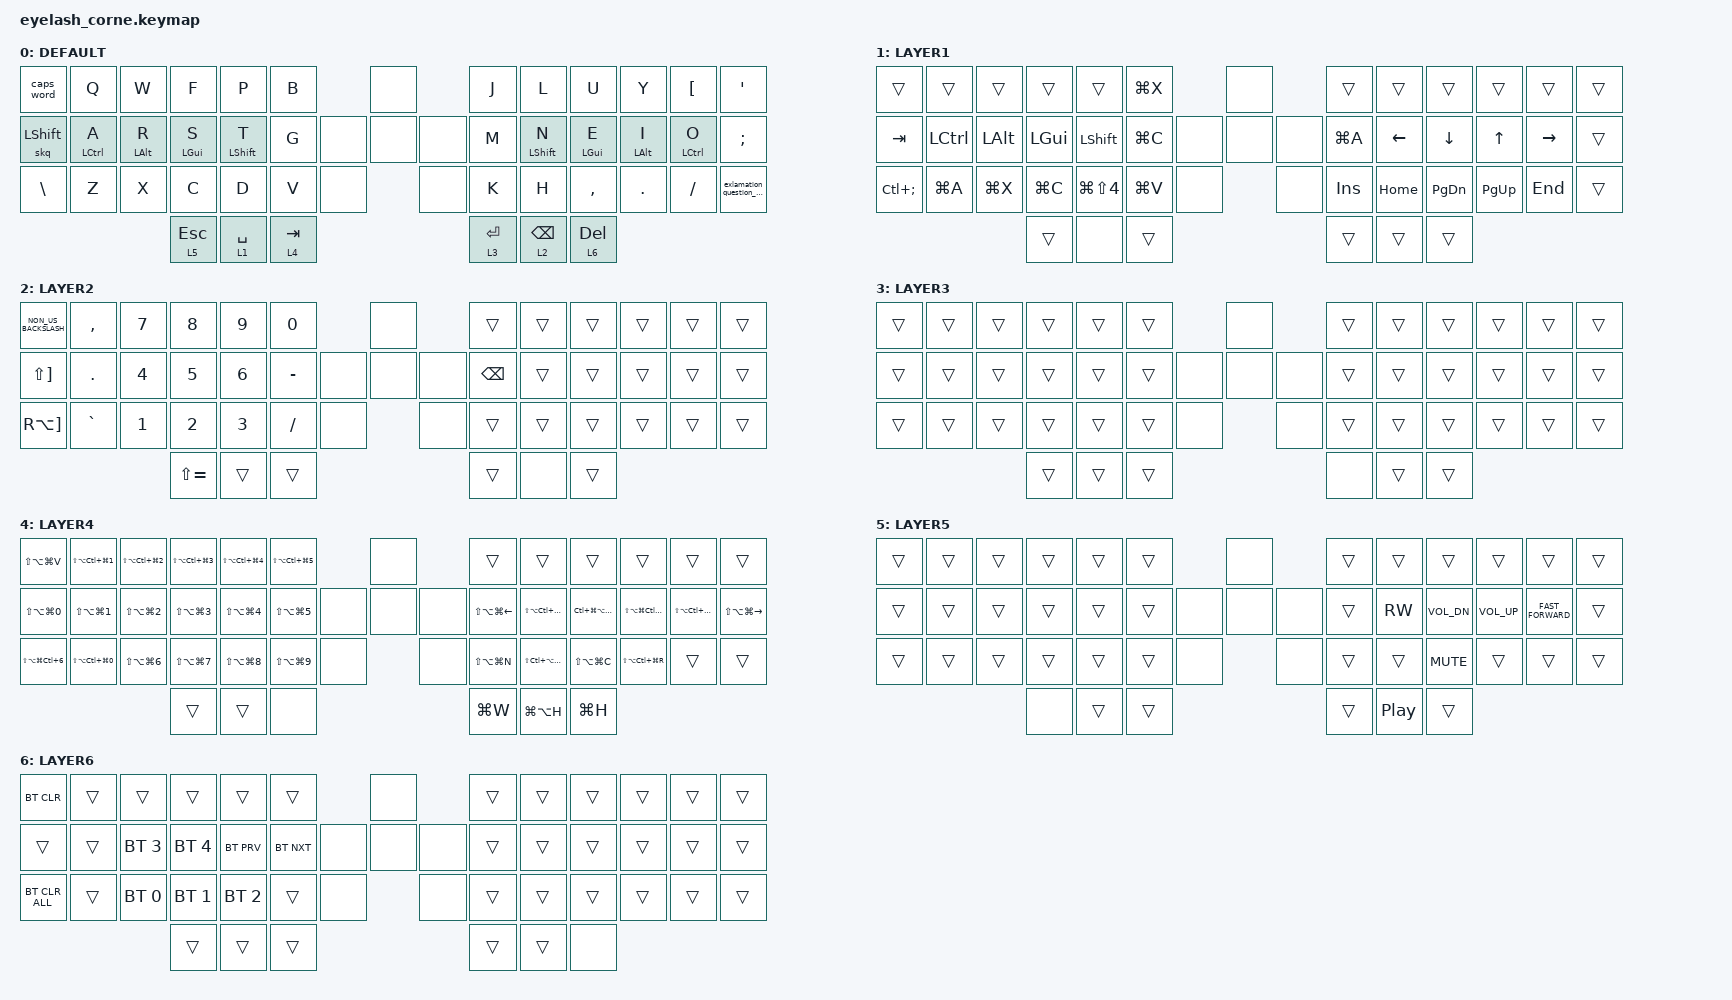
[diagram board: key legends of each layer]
#define ZMK_POINTING_DEFAULT_MOVE_VAL 1200  // 600
#define ZMK_POINTING_DEFAULT_SCRL_VAL 25   // 10

#include <input/processors.dtsi>
#include <zephyr/dt-bindings/input/input-event-codes.h>
#include "alias_corne.h"
#include <behaviors.dtsi>
#include <dt-bindings/zmk/bt.h>
#include <dt-bindings/zmk/keys.h>

&mmv_input_listener { input-processors = <&zip_xy_scaler 2 1>; };

&msc_input_listener { input-processors = <&zip_scroll_scaler 2 1>; };

&msc {
    acceleration-exponent = <1>;      // 0
    time-to-max-speed-ms = <100>;       // 300
    delay-ms = <0>;                   // 0
};

&mmv {
    time-to-max-speed-ms = <500>;
    acceleration-exponent = <1>;
    trigger-period-ms = <16>;
};

// Homerow mods

#define HRM_BEHAVIOR "tap-preferred"
#define HRM_TAPPING_TERM_MS 180
#define HRM_REQUIRE_PRIOR_IDLE_MS 80
#define HRM_QUICK_TAP_MS 160
#define COMBO_TIMEOUT_MS 30
#define COMBO_REQUIRE_PRIOR_IDLE_MS 80

/ {
    hml: homerow_mods_left {
        compatible = "zmk,behavior-hold-tap";
        label = "HOMEROW_MODS_LEFT";
        flavor =
        HRM_BEHAVIOR;
        tapping-term-ms = <HRM_TAPPING_TERM_MS>;
        quick-tap-ms = <HRM_QUICK_TAP_MS>;
        require-prior-idle-ms = <HRM_REQUIRE_PRIOR_IDLE_MS>;
        hold-trigger-key-positions = <KEYS_R KEYS_T>;
        hold-trigger-on-release;
        #binding-cells = <2>;
        bindings = <&kp>, <&kp>;
    };

    hmr: homerow_mods_right {
        compatible = "zmk,behavior-hold-tap";
        label = "HOMEROW_MODS_RIGHT";
        flavor =
        HRM_BEHAVIOR;
        tapping-term-ms = <HRM_TAPPING_TERM_MS>;
        quick-tap-ms = <HRM_QUICK_TAP_MS>;
        require-prior-idle-ms = <HRM_REQUIRE_PRIOR_IDLE_MS>;
        hold-trigger-key-positions = <KEYS_L KEYS_T>;
        hold-trigger-on-release;
        #binding-cells = <2>;
        bindings = <&kp>, <&kp>;
    };

    exlamation_question_mark: exlamation_question_mark {
        compatible = "zmk,behavior-mod-morph";
        label = "EXLAMATION_QUESTION_MARK";
        bindings = <&kp LS(NUMBER_1)>, <&kp MINUS>;

        #binding-cells = <0>;
        mods = <(MOD_LSFT)>;
        keep-mods = <(MOD_LSFT)>;
    };

    thumb_layers: thumb_layers {
        compatible = "zmk,behavior-hold-tap";
        label = "THUMB_LAYERS";
        flavor =
        HRM_BEHAVIOR;
        tapping-term-ms = <HRM_TAPPING_TERM_MS>;
        quick-tap-ms = <HRM_QUICK_TAP_MS>;
        require-prior-idle-ms = <HRM_REQUIRE_PRIOR_IDLE_MS>;
        hold-trigger-on-release;
        #binding-cells = <2>;
        bindings = <&mo>, <&kp>;
    };

    behaviors {
        skq: sticky_key_quick_release {
            compatible = "zmk,behavior-sticky-key";
            #binding-cells = <1>;
            bindings = <&kp>;
            release-after-ms = <1000>;
            quick-release;
            ignore-modifiers;
        };
    };

    combos {
        compatible = "zmk,combos";

        left_parenthesis {
            bindings = <&kp LS(N8)>;
            key-positions = <16 17>;
            layers = <0>;
            require-prior-idle-ms = <COMBO_REQUIRE_PRIOR_IDLE_MS>;
            timeout-ms = <COMBO_TIMEOUT_MS>;
        };

        right_parenthesis {
            bindings = <&kp LS(N9)>;
            key-positions = <23 24>;
            layers = <0>;
            require-prior-idle-ms = <COMBO_REQUIRE_PRIOR_IDLE_MS>;
            timeout-ms = <COMBO_TIMEOUT_MS>;
        };

        left_bracket {
            bindings = <&kp LA(N8)>;
            key-positions = <17 15>;
            timeout-ms = <COMBO_TIMEOUT_MS>;
            require-prior-idle-ms = <COMBO_REQUIRE_PRIOR_IDLE_MS>;
            layers = <0>;
        };

        right_bracket {
            bindings = <&kp LA(N9)>;
            key-positions = <23 25>;
            timeout-ms = <COMBO_TIMEOUT_MS>;
            require-prior-idle-ms = <COMBO_REQUIRE_PRIOR_IDLE_MS>;
            layers = <0>;
        };

        left_curly {
            bindings = <&kp LA(LS(N8))>;
            key-positions = <17 14>;
            timeout-ms = <COMBO_TIMEOUT_MS>;
            require-prior-idle-ms = <COMBO_REQUIRE_PRIOR_IDLE_MS>;
            layers = <0>;
        };

        right_curly {
            bindings = <&kp LA(LS(N9))>;
            key-positions = <23 26>;
            timeout-ms = <COMBO_TIMEOUT_MS>;
            require-prior-idle-ms = <COMBO_REQUIRE_PRIOR_IDLE_MS>;
            layers = <0>;
        };

        less_than {
            bindings = <&kp GRAVE>;
            key-positions = <16 18>;
            timeout-ms = <COMBO_TIMEOUT_MS>;
            require-prior-idle-ms = <COMBO_REQUIRE_PRIOR_IDLE_MS>;
            layers = <0>;
        };

        greater_than {
            bindings = <&kp LS(GRAVE)>;
            key-positions = <24 22>;
            timeout-ms = <COMBO_TIMEOUT_MS>;
            require-prior-idle-ms = <COMBO_REQUIRE_PRIOR_IDLE_MS>;
            layers = <0>;
        };

        equal {
            bindings = <&kp LS(N0)>;
            key-positions = <5 3>;
            timeout-ms = <COMBO_TIMEOUT_MS>;
            require-prior-idle-ms = <COMBO_REQUIRE_PRIOR_IDLE_MS>;
            layers = <0>;
        };

        star {
            bindings = <&kp LS(BACKSLASH)>;
            key-positions = <17 18>;
            timeout-ms = <COMBO_TIMEOUT_MS>;
            require-prior-idle-ms = <COMBO_REQUIRE_PRIOR_IDLE_MS>;
            layers = <0>;
        };

        quote {
            bindings = <&kp LS(NUMBER_2)>;
            key-positions = <31 32>;
            timeout-ms = <COMBO_TIMEOUT_MS>;
            require-prior-idle-ms = <COMBO_REQUIRE_PRIOR_IDLE_MS>;
            layers = <0>;
        };

        hash {
            bindings = <&kp LS(NUMBER_3)>;
            key-positions = <32 30>;
            timeout-ms = <COMBO_TIMEOUT_MS>;
            require-prior-idle-ms = <COMBO_REQUIRE_PRIOR_IDLE_MS>;
            layers = <0>;
        };

        tilde {
            bindings = <&kp RA(RIGHT_BRACKET)>;
            key-positions = <1 2>;
            timeout-ms = <COMBO_TIMEOUT_MS>;
            require-prior-idle-ms = <COMBO_REQUIRE_PRIOR_IDLE_MS>;
            layers = <0>;
        };

        plus {
            bindings = <&kp MINUS>;
            key-positions = <3 4>;
            timeout-ms = <COMBO_TIMEOUT_MS>;
            require-prior-idle-ms = <COMBO_REQUIRE_PRIOR_IDLE_MS>;
            layers = <0>;
        };

        forward_slash {
            bindings = <&kp LS(N7)>;
            key-positions = <4 2>;
            timeout-ms = <COMBO_TIMEOUT_MS>;
            require-prior-idle-ms = <COMBO_REQUIRE_PRIOR_IDLE_MS>;
            layers = <0>;
        };

        backward_slash {
            bindings = <&kp LS(LA(N7))>;
            key-positions = <2 3>;
            timeout-ms = <COMBO_TIMEOUT_MS>;
            require-prior-idle-ms = <COMBO_REQUIRE_PRIOR_IDLE_MS>;
            layers = <0>;
        };

        n_1 {
            bindings = <&kp NUMBER_1>;
            key-positions = <43 30>;
            timeout-ms = <COMBO_TIMEOUT_MS>;
            require-prior-idle-ms = <COMBO_REQUIRE_PRIOR_IDLE_MS>;
            layers = <0>;
        };

        n_2 {
            bindings = <&kp NUMBER_2>;
            key-positions = <43 31>;
            timeout-ms = <COMBO_TIMEOUT_MS>;
            require-prior-idle-ms = <COMBO_REQUIRE_PRIOR_IDLE_MS>;
            layers = <0>;
        };

        n_3 {
            bindings = <&kp NUMBER_3>;
            key-positions = <43 32>;
            timeout-ms = <COMBO_TIMEOUT_MS>;
            require-prior-idle-ms = <COMBO_REQUIRE_PRIOR_IDLE_MS>;
            layers = <0>;
        };

        n_4 {
            bindings = <&kp NUMBER_4>;
            key-positions = <43 15>;
            timeout-ms = <COMBO_TIMEOUT_MS>;
            require-prior-idle-ms = <COMBO_REQUIRE_PRIOR_IDLE_MS>;
            layers = <0>;
        };

        n_5 {
            bindings = <&kp N5>;
            key-positions = <43 16>;
            timeout-ms = <COMBO_TIMEOUT_MS>;
            require-prior-idle-ms = <COMBO_REQUIRE_PRIOR_IDLE_MS>;
            layers = <0>;
        };

        n_6 {
            bindings = <&kp NUMBER_6>;
            key-positions = <17 43>;
            timeout-ms = <COMBO_TIMEOUT_MS>;
            require-prior-idle-ms = <COMBO_REQUIRE_PRIOR_IDLE_MS>;
            layers = <0>;
        };

        n_7 {
            bindings = <&kp N7>;
            key-positions = <43 2>;
            timeout-ms = <COMBO_TIMEOUT_MS>;
            require-prior-idle-ms = <COMBO_REQUIRE_PRIOR_IDLE_MS>;
            layers = <0>;
        };

        n_8 {
            bindings = <&kp N8>;
            key-positions = <43 3>;
            timeout-ms = <COMBO_TIMEOUT_MS>;
            require-prior-idle-ms = <COMBO_REQUIRE_PRIOR_IDLE_MS>;
            layers = <0>;
        };

        n_9 {
            bindings = <&kp N9>;
            key-positions = <43 4>;
            timeout-ms = <COMBO_TIMEOUT_MS>;
            require-prior-idle-ms = <COMBO_REQUIRE_PRIOR_IDLE_MS>;
            layers = <0>;
        };

        n_0 {
            bindings = <&kp N0>;
            key-positions = <43 5>;
            timeout-ms = <COMBO_TIMEOUT_MS>;
            require-prior-idle-ms = <COMBO_REQUIRE_PRIOR_IDLE_MS>;
            layers = <0>;
        };

        underscore {
            bindings = <&kp LS(FSLH)>;
            key-positions = <37 38>;
            timeout-ms = <COMBO_TIMEOUT_MS>;
            require-prior-idle-ms = <COMBO_REQUIRE_PRIOR_IDLE_MS>;
            layers = <0>;
        };

        colon {
            bindings = <&kp LS(PERIOD)>;
            key-positions = <38 39>;
            timeout-ms = <COMBO_TIMEOUT_MS>;
            require-prior-idle-ms = <COMBO_REQUIRE_PRIOR_IDLE_MS>;
            layers = <0>;
        };

        semi_colon {
            bindings = <&kp LS(COMMA)>;
            key-positions = <39 37>;
            timeout-ms = <COMBO_TIMEOUT_MS>;
            require-prior-idle-ms = <COMBO_REQUIRE_PRIOR_IDLE_MS>;
            layers = <0>;
        };

        at_sign {
            bindings = <&kp LA(NUMBER_2)>;
            key-positions = <30 31>;
            timeout-ms = <COMBO_TIMEOUT_MS>;
            require-prior-idle-ms = <COMBO_REQUIRE_PRIOR_IDLE_MS>;
            layers = <0>;
        };

        ampersand {
            bindings = <&kp LS(NUMBER_6)>;
            key-positions = <32 33>;
            timeout-ms = <COMBO_TIMEOUT_MS>;
            require-prior-idle-ms = <COMBO_REQUIRE_PRIOR_IDLE_MS>;
            layers = <0>;
        };

        percent {
            bindings = <&kp LS(N5)>;
            key-positions = <32 29>;
            timeout-ms = <COMBO_TIMEOUT_MS>;
            require-prior-idle-ms = <COMBO_REQUIRE_PRIOR_IDLE_MS>;
            layers = <0>;
        };

        pipe {
            bindings = <&kp LA(N7)>;
            key-positions = <33 31>;
            timeout-ms = <COMBO_TIMEOUT_MS>;
            require-prior-idle-ms = <COMBO_REQUIRE_PRIOR_IDLE_MS>;
            layers = <0>;
        };

        string_literal {
            bindings = <&kp LS(EQUAL)>;
            key-positions = <22 23>;
            timeout-ms = <COMBO_TIMEOUT_MS>;
            require-prior-idle-ms = <COMBO_REQUIRE_PRIOR_IDLE_MS>;
            layers = <0>;
        };
    };

    DEFAULT {
        compatible = "zmk,keymap";

        default_layer {
            display-name = "DEFAULT";
            bindings = <
&caps_word              &kp Q         &kp W            &kp F                &kp P                  &kp B                                &none         &kp J                  &kp L                      &kp U                   &kp Y            &kp LBKT      &kp SQT
&skq LSHFT              &hml LCTRL A  &hml LEFT_ALT R  &hml LEFT_GUI S      &hml LEFT_SHIFT T      &kp G                         &none  &none  &none  &kp M                  &hmr LSHIFT N              &hmr LGUI E             &hmr LEFT_ALT I  &hmr LCTRL O  &kp SEMI
&kp BACKSLASH           &kp Z         &kp X            &kp C                &kp D                  &kp V                &none           &none         &kp K                  &kp H                      &kp COMMA               &kp DOT          &kp FSLH      &exlamation_question_mark
                                                       &thumb_layers 5 ESC  &thumb_layers 1 SPACE  &thumb_layers 4 TAB                                &thumb_layers 3 ENTER  &thumb_layers 2 BACKSPACE  &thumb_layers 6 DELETE
            >;
        };

        LAYER1 {
            display-name = "LAYER1";
            bindings = <
&trans        &trans            &trans        &trans        &trans                &kp LG(X)                  &none         &trans      &trans    &trans         &trans        &trans     &trans
&kp TAB       &kp LEFT_CONTROL  &kp LEFT_ALT  &kp LEFT_GUI  &kp LEFT_SHIFT        &kp LG(C)           &none  &none  &none  &kp LG(A)   &kp LEFT  &kp DOWN       &kp UP_ARROW  &kp RIGHT  &trans
&kp LC(SEMI)  &kp LG(A)         &kp LG(X)     &kp LG(C)     &kp LG(LS(NUMBER_4))  &kp LG(V)  &none           &none         &kp INSERT  &kp HOME  &kp PAGE_DOWN  &kp PAGE_UP   &kp END    &trans
                                              &trans        &none                 &trans                                   &trans      &trans    &trans
            >;
        };

        LAYER2 {
            display-name = "LAYER2";
            bindings = <
&kp NON_US_BACKSLASH   &kp COMMA  &kp N7        &kp N8         &kp N9        &kp N0                     &none         &trans         &trans  &trans  &trans  &trans  &trans
&kp LS(RIGHT_BRACKET)  &kp DOT    &kp NUMBER_4  &kp N5         &kp NUMBER_6  &kp MINUS           &none  &none  &none  &kp BACKSPACE  &trans  &trans  &trans  &trans  &trans
&kp RA(RIGHT_BRACKET)  &kp GRAVE  &kp NUMBER_1  &kp NUMBER_2   &kp NUMBER_3  &kp FSLH   &none           &none         &trans         &trans  &trans  &trans  &trans  &trans
                                                &kp LS(EQUAL)  &trans        &trans                                   &trans         &none   &trans
            >;
        };

        LAYER3 {
            display-name = "LAYER3";
            bindings = <
&trans  &trans  &trans  &trans  &trans  &trans                  &none         &trans  &trans  &trans  &trans  &trans  &trans
&trans  &trans  &trans  &trans  &trans  &trans           &none  &none  &none  &trans  &trans  &trans  &trans  &trans  &trans
&trans  &trans  &trans  &trans  &trans  &trans  &none           &none         &trans  &trans  &trans  &trans  &trans  &trans
                        &trans  &trans  &trans                                &none   &trans  &trans
            >;
        };

        LAYER4 {
            display-name = "LAYER4";
            bindings = <
&kp LS(LA(LG(V)))             &kp LS(LA(LC(LG(NUMBER_1))))  &kp LS(LA(LC(LG(NUMBER_2))))  &kp LS(LA(LC(LG(NUMBER_3))))  &kp LS(LA(LC(LG(NUMBER_4))))  &kp LS(LA(LC(LG(N5))))                    &none         &trans                &trans                    &trans                          &trans                        &trans                     &trans
&kp LS(LA(LG(N0)))            &kp LS(LA(LG(NUMBER_1)))      &kp LS(LA(LG(NUMBER_2)))      &kp LS(LA(LG(NUMBER_3)))      &kp LS(LA(LG(NUMBER_4)))      &kp LS(LA(LG(NUMBER_5)))           &none  &none  &none  &kp LS(LA(LG(LEFT)))  &kp LS(LA(LC(LG(LEFT))))  &kp LC(LG(LA(LS(DOWN_ARROW))))  &kp LS(LA(LG(LC(UP_ARROW))))  &kp LS(LA(LC(LG(RIGHT))))  &kp LS(LA(LG(RIGHT)))
&kp LS(LA(LG(LC(NUMBER_6))))  &kp LS(LA(LC(LG(N0))))        &kp LS(LA(LG(NUMBER_6)))      &kp LS(LA(LG(N7)))            &kp LS(LA(LG(N8)))            &kp LS(LA(LG(N9)))        &none           &none         &kp LS(LA(LG(N)))     &kp LS(LC(LA(LG(M))))     &kp LS(LA(LG(C)))               &kp LS(LA(LC(LG(R))))         &trans                     &trans
                                                                                          &trans                        &trans                        &none                                                   &kp LG(W)             &kp LG(LA(H))             &kp LG(H)
            >;
        };

        LAYER5 {
            display-name = "LAYER5";
            bindings = <
&trans  &trans  &trans  &trans  &trans  &trans                  &none         &trans  &trans    &trans        &trans           &trans              &trans
&trans  &trans  &trans  &trans  &trans  &trans           &none  &none  &none  &trans  &kp C_RW  &kp C_VOL_DN  &kp C_VOLUME_UP  &kp C_FAST_FORWARD  &trans
&trans  &trans  &trans  &trans  &trans  &trans  &none           &none         &trans  &trans    &kp C_MUTE    &trans           &trans              &trans
                        &none   &trans  &trans                                &trans  &kp C_PP  &trans
            >;
        };

        LAYER6 {
            display-name = "LAYER6";
            bindings = <
&bt BT_CLR      &trans  &trans        &trans        &trans        &trans                      &none         &trans  &trans  &trans  &trans  &trans  &trans
&trans          &trans  &bt BT_SEL 3  &bt BT_SEL 4  &bt BT_PRV    &bt BT_NXT           &none  &none  &none  &trans  &trans  &trans  &trans  &trans  &trans
&bt BT_CLR_ALL  &trans  &bt BT_SEL 0  &bt BT_SEL 1  &bt BT_SEL 2  &trans      &none           &none         &trans  &trans  &trans  &trans  &trans  &trans
                                      &trans        &trans        &trans                                    &trans  &trans  &none
            >;
        };
    };
};
